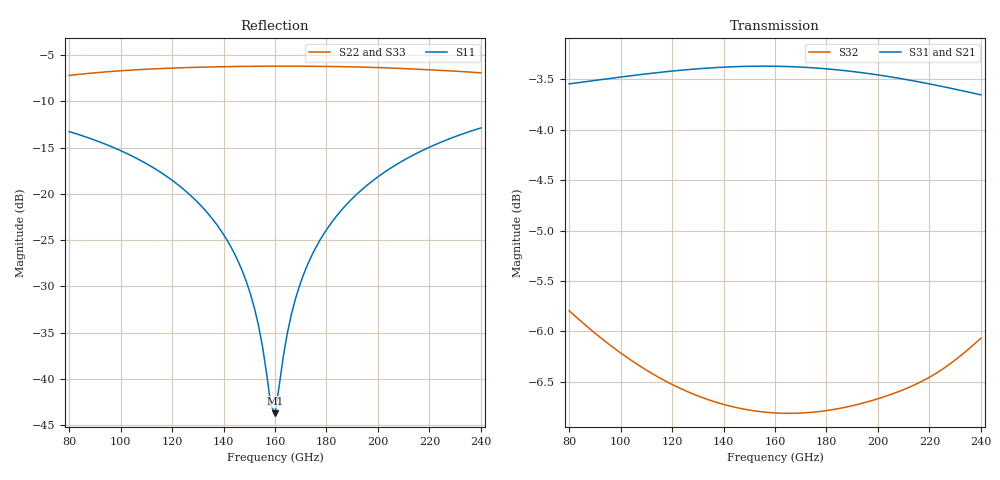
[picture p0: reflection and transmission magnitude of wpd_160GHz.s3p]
#  GHZ S DB R 50
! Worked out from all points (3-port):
!   101 points, 80 GHz to 240 GHz, reference 50 ohm
!   strongest paths, dB at 80 GHz, 120 GHz, 160 GHz, 200 GHz, 240 GHz:
!     S31: -3.5, -3.4, -3.4, -3.5, -3.7
!     S21: -3.5, -3.4, -3.4, -3.5, -3.7
!     S32: -5.8, -6.5, -6.8, -6.7, -6.1
!   lowest |S11| = -43.7 dB at 160 GHz (marker M1), VSWR 1.01, Z = 50.6 - j0.177 ohm
!   |S11| at or under -10 dB: start of sweep to end of sweep
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80  -13.27 133.1  -3.55 -44.1  -3.54 -44.0
    -3.55 -44.1  -7.19 51.1  -5.80 -97.3
    -3.54 -44.0  -5.80 -97.3  -7.21 51.1
115.2  -17.61 111.8  -3.44 -64.1  -3.43 -64.1
       -3.44 -64.1  -6.46 23.5  -6.46 -134.0
       -3.43 -64.1  -6.46 -134.0  -6.47 23.5
137.6  -23.42 96.1  -3.39 -77.2  -3.38 -77.2
       -3.39 -77.2  -6.26 9.0  -6.71 -156.5
       -3.38 -77.2  -6.71 -156.5  -6.28 9.0
150.4  -30.78 81.3  -3.38 -84.8  -3.37 -84.8
       -3.38 -84.8  -6.21 1.4  -6.78 -169.2
       -3.37 -84.8  -6.78 -169.2  -6.23 1.3
158.4  -42.87 27.6  -3.38 -89.5  -3.37 -89.5
       -3.38 -89.5  -6.20 -3.3  -6.81 -177.2
       -3.37 -89.5  -6.81 -177.2  -6.21 -3.4
160  -43.73 -15.6  -3.38 -90.4  -3.37 -90.5
     -3.38 -90.4  -6.20 -4.3  -6.81 -178.8
     -3.37 -90.5  -6.81 -178.8  -6.21 -4.3
168  -31.30 -83.1  -3.38 -95.2  -3.37 -95.2
     -3.38 -95.2  -6.20 -8.9  -6.81 173.2
     -3.37 -95.2  -6.81 173.2  -6.21 -9.0
180.8  -23.56 -98.6  -3.40 -102.8  -3.40 -102.8
       -3.40 -102.8  -6.22 -16.4  -6.78 160.4
       -3.40 -102.8  -6.78 160.4  -6.24 -16.5
204.8  -17.24 -115.6  -3.48 -116.9  -3.47 -116.9
       -3.48 -116.9  -6.39 -31.1  -6.63 136.2
       -3.47 -116.9  -6.63 136.2  -6.41 -31.2
240  -12.88 -136.9  -3.66 -137.2  -3.65 -137.3
     -3.66 -137.2  -6.92 -55.9  -6.07 100.1
     -3.65 -137.3  -6.07 100.1  -6.93 -56.0
